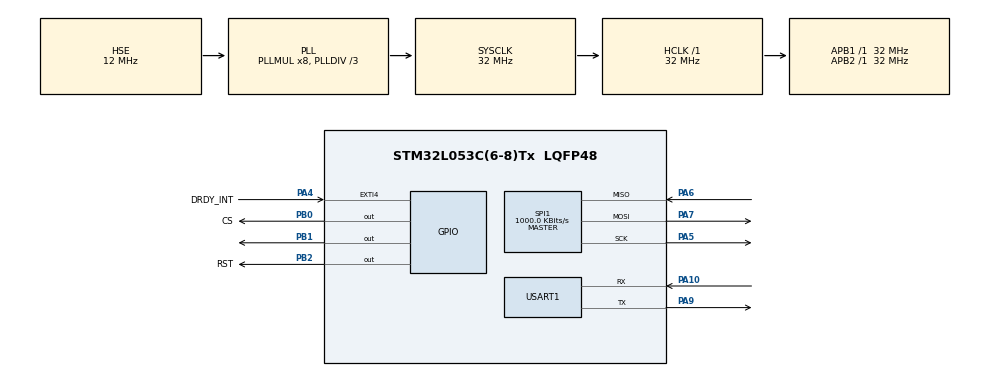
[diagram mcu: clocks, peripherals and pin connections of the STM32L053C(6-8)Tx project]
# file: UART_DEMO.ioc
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Mcu.Family=STM32L0
Mcu.Name=STM32L053C(6-8)Tx
Mcu.Package=LQFP48
NVIC.EXTI4_15_IRQn=true\:0\:0\:false\:false\:true\:true\:true
PA10.Mode=Asynchronous
PA10.Signal=USART1_RX
PA13.Mode=Serial_Wire
PA13.Signal=SYS_SWDIO
PA14.Mode=Serial_Wire
PA14.Signal=SYS_SWCLK
PA4.GPIO_Label=DRDY_INT
PA4.Signal=GPXTI4
PA5.Mode=Full_Duplex_Master
PA5.Signal=SPI1_SCK
PA6.GPIO_Mode=GPIO_MODE_AF_PP
PA6.GPIO_PuPd=GPIO_PULLDOWN
PA6.Mode=Full_Duplex_Master
PA6.Signal=SPI1_MISO
PA7.Mode=Full_Duplex_Master
PA7.Signal=SPI1_MOSI
PA9.Mode=Asynchronous
PA9.Signal=USART1_TX
PB0.GPIO_Label=CS
PB0.GPIO_Speed=GPIO_SPEED_FREQ_HIGH
PB0.Signal=GPIO_Output
PB1.GPIO_Speed=GPIO_SPEED_FREQ_HIGH
PB1.Signal=GPIO_Output
PB2.GPIO_Label=RST
PB2.GPIO_ModeDefaultOutputPP=GPIO_MODE_OUTPUT_PP
PB2.GPIO_Speed=GPIO_SPEED_FREQ_HIGH
PB2.PinState=GPIO_PIN_SET
PB2.Signal=GPIO_Output
PH0-OSC_IN.Mode=HSE-External-Oscillator
PH0-OSC_IN.Signal=RCC_OSC_IN
PH1-OSC_OUT.Mode=HSE-External-Oscillator
PH1-OSC_OUT.Signal=RCC_OSC_OUT
ProjectManager.HeapSize=0x200
ProjectManager.StackSize=0x400
ProjectManager.TargetToolchain=MDK-ARM V5.27
RCC.AHBFreq_Value=32000000
RCC.APB1Freq_Value=32000000
RCC.APB1TimFreq_Value=32000000
RCC.APB2Freq_Value=32000000
RCC.APB2TimFreq_Value=32000000
RCC.HCLKFreq_Value=32000000
RCC.HSE_VALUE=12000000
RCC.HSI16_VALUE=16000000
RCC.HSI48_VALUE=48000000
RCC.HSI_VALUE=16000000
RCC.LSE_VALUE=32768
RCC.MSI_VALUE=2097000
RCC.PLLDIV=RCC_PLLDIV_3
RCC.PLLMUL=RCC_PLLMUL_8
RCC.PLLSourceVirtual=RCC_PLLSOURCE_HSE
RCC.SYSCLKFreq_VALUE=32000000
RCC.SYSCLKSource=RCC_SYSCLKSOURCE_PLLCLK
RCC.VCOOutputFreq_Value=96000000
SPI1.BaudRatePrescaler=SPI_BAUDRATEPRESCALER_32
SPI1.CLKPhase=SPI_PHASE_2EDGE
SPI1.CalculateBaudRate=1000.0 KBits/s
SPI1.Direction=SPI_DIRECTION_2LINES
SPI1.Mode=SPI_MODE_MASTER
SPI1.VirtualType=VM_MASTER
TIM6.Prescaler=31
USART1.VirtualMode-Asynchronous=VM_ASYNC
VP_TIM6_VS_ClockSourceINT.Mode=Enable_Timer
board=custom

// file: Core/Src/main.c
/* USER CODE BEGIN Header */
/**
  ******************************************************************************
  * @file           : main.c
  * @brief          : Main program body
  ******************************************************************************
  * @attention
  *
  * <h2><center>&copy; Copyright (c) 2021 STMicroelectronics.
  * All rights reserved.</center></h2>
  *
  * This software component is licensed by ST under BSD 3-Clause license,
  * the "License"; You may not use this file except in compliance with the
  * License. You may obtain a copy of the License at:
  *                        opensource.org/licenses/BSD-3-Clause
  *
  ******************************************************************************
  */
/* USER CODE END Header */
#include "main.h"
#include "spi.h"
#include "tim.h"
#include "usart.h"
#include "gpio.h"

/* USER CODE BEGIN Includes */
#include "ads1256.h"
/* USER CODE END Includes */

void SystemClock_Config(void);

/* USER CODE BEGIN 0 */
int fputc(int ch, FILE *f) {
    uint8_t temp[1] = {ch};
    HAL_UART_Transmit(&huart1, temp, 1, 2);//huart1 根据配置修改
    return ch;
}
/* USER CODE END 0 */

int main(void)
{
    /* USER CODE BEGIN 1 */
    int32_t adc[8];
    int32_t volt[8];
    uint8_t i;
    uint8_t ch_num;

    int32_t iTemp;
    /* USER CODE END 1 */

    /* MCU Configuration--------------------------------------------------------*/

    /* Reset of all peripherals, Initializes the Flash interface and the Systick. */
    HAL_Init();

    /* Configure the system clock */
    SystemClock_Config();

    /* Initialize all configured peripherals */
    MX_GPIO_Init();
    MX_USART1_UART_Init();
    MX_SPI1_Init();
    MX_TIM6_Init();
    /* USER CODE BEGIN 2 */
    DBG("init start\r\n");
//  HAL_Delay(100);//等基准电压电路稳定, ads1256Init() 内部会进行自校准
    ads1256Init();

    /* 设置PGA增益，数据更新速率 */
#if 1
    DBG("\r\nPGA增益 = 1, 数据输出速率 = 15sps, 单端8路扫描\r\n\r\n");

    ADS1256_CfgADC(ADS1256_GAIN_1, ADS1256_30000SPS);	/* 配置ADC参数： 增益1:1, 数据输出速率 15Hz */

    /*
       中断服务程序会自动读取ADC结果保存在全局变量，主程序通过 ADS1256_GetAdc() 函数来读取这些数据
    */
    ADS1256_StartScan(0);	/* 启动中断扫描模式. 0表示单端8路，1表示差分4路 */
    ch_num = 8;		/* 通道数 = 8 或者4 */
#else
    USB_SendStr("\r\nPGA增益 = 1, 数据输出速率 = 15sps, 差分4路扫描\r\n\r\n");

    ADS1256_CfgADC(ADS1256_GAIN_1, ADS1256_15SPS);	/* 配置ADC参数： 增益1:1, 数据输出速率 15Hz */

    /*
       中断服务程序会自动读取ADC结果保存在全局变量，主程序通过 ADS1256_GetAdc() 函数来读取这些数据
    */
    ADS1256_StartScan(1);	/* 启动中断扫描模式. 0表示单端8路，1表示差分4路 */
    ch_num = 4;		/* 通道数 = 8 或者4 */
#endif

    /* USER CODE END 2 */

    /* Infinite loop */
    while (1)
    {

        /* USER CODE BEGIN 3 */
        for (i = 0; i < ch_num; i++)
        {
            /* 从全局缓冲区读取采样结果。 采样结果是在中断服务程序中读取的。*/
            adc[i] = ADS1256_GetAdc(i);
            /* 4194303 = 2.5V , 这是理论值，实际可以根据2.5V基准的实际值进行公式矫正 */
            volt[i] = ((int64_t)adc[i] * 2500000) / 4194303;	/* 计算实际电压值（近似估算），如需准确，请进行校准 */
        }
        DBG("[%dCH_NUM]", ch_num);
        for (i = 0; i < ch_num; i++)
        {
            iTemp = volt[i];
            if (iTemp < 0)
            {
                iTemp = -iTemp;
                DBG("%d=%6d,(-%d.%03d %03d V)", i, adc[i], iTemp /1000000, (iTemp%1000000)/1000, iTemp%1000);
            }
            else
            {
                DBG("%d=%6d,(%d.%03d %03d V)", i, adc[i], iTemp /1000000, (iTemp%1000000)/1000, iTemp%1000);
            }
        }
//	  voltage = (float)(adcVaule * 5.0 / 8388607); //计算电压
        //filterVoltage = filterlowerpass(voltage);    //低通滤波
//		filterVoltage2 = kalman_filter(voltage);		 //卡尔玛滤波
//        printf("voltage:%f\n\t", voltage);
//        printf("filterVoltage:%f\n\t", filterVoltage2);
    }
    /* USER CODE END 3 */
}

void SystemClock_Config(void)
{
    RCC_OscInitTypeDef RCC_OscInitStruct = {0};
    RCC_ClkInitTypeDef RCC_ClkInitStruct = {0};
    RCC_PeriphCLKInitTypeDef PeriphClkInit = {0};

    /** Configure the main internal regulator output voltage
    */
    __HAL_PWR_VOLTAGESCALING_CONFIG(PWR_REGULATOR_VOLTAGE_SCALE1);
    /** Initializes the RCC Oscillators according to the specified parameters
    * in the RCC_OscInitTypeDef structure.
    */
    RCC_OscInitStruct.OscillatorType = RCC_OSCILLATORTYPE_HSE;
    RCC_OscInitStruct.HSEState = RCC_HSE_ON;
    RCC_OscInitStruct.PLL.PLLState = RCC_PLL_ON;
    RCC_OscInitStruct.PLL.PLLSource = RCC_PLLSOURCE_HSE;
    RCC_OscInitStruct.PLL.PLLMUL = RCC_PLLMUL_8;
    RCC_OscInitStruct.PLL.PLLDIV = RCC_PLLDIV_3;
    if (HAL_RCC_OscConfig(&RCC_OscInitStruct) != HAL_OK)
    {
        Error_Handler();
    }
    /** Initializes the CPU, AHB and APB buses clocks
    */
    RCC_ClkInitStruct.ClockType = RCC_CLOCKTYPE_HCLK|RCC_CLOCKTYPE_SYSCLK
                                  |RCC_CLOCKTYPE_PCLK1|RCC_CLOCKTYPE_PCLK2;
    RCC_ClkInitStruct.SYSCLKSource = RCC_SYSCLKSOURCE_PLLCLK;
    RCC_ClkInitStruct.AHBCLKDivider = RCC_SYSCLK_DIV1;
    RCC_ClkInitStruct.APB1CLKDivider = RCC_HCLK_DIV1;
    RCC_ClkInitStruct.APB2CLKDivider = RCC_HCLK_DIV1;

    if (HAL_RCC_ClockConfig(&RCC_ClkInitStruct, FLASH_LATENCY_1) != HAL_OK)
    {
        Error_Handler();
    }
    PeriphClkInit.PeriphClockSelection = RCC_PERIPHCLK_USART1;
    PeriphClkInit.Usart1ClockSelection = RCC_USART1CLKSOURCE_PCLK2;
    if (HAL_RCCEx_PeriphCLKConfig(&PeriphClkInit) != HAL_OK)
    {
        Error_Handler();
    }
}

void Error_Handler(void)
{
}

/************************ (C) COPYRIGHT STMicroelectronics *****END OF FILE****/
